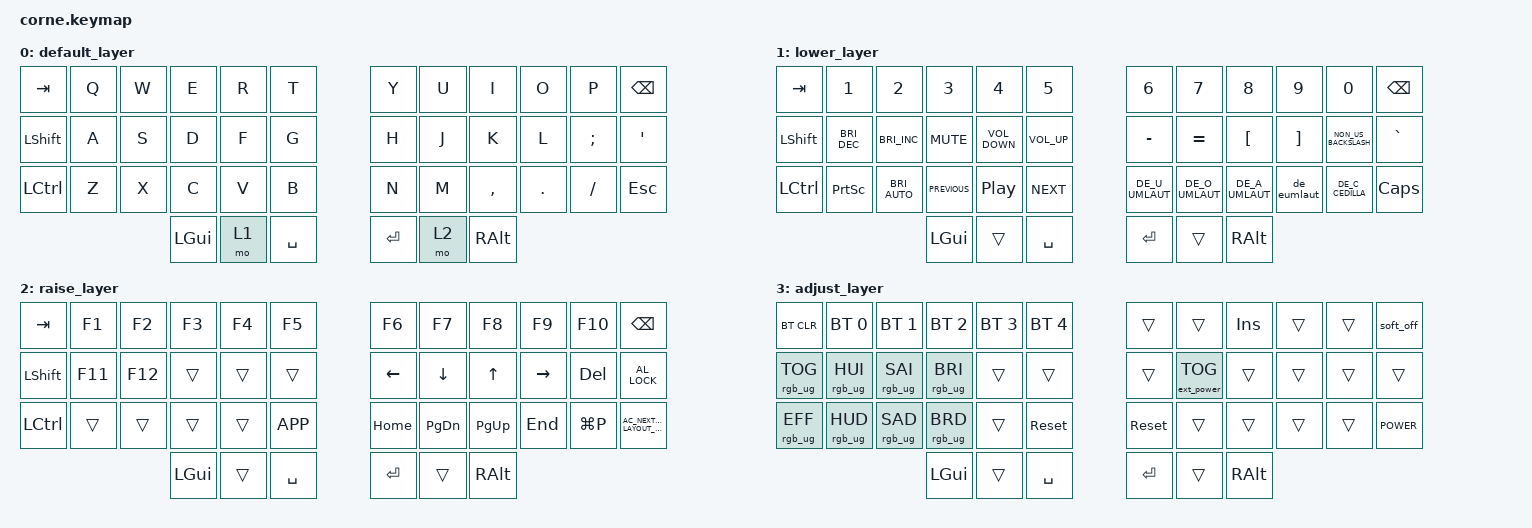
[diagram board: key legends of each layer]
/*
 * Copyright (c) 2020 The ZMK Contributors
 *
 * SPDX-License-Identifier: MIT
 */

#include <behaviors.dtsi>
#include <dt-bindings/zmk/bt.h>
#include <dt-bindings/zmk/keys.h>
#include <dt-bindings/zmk/rgb.h>
#include <dt-bindings/zmk/ext_power.h>
#include <locale/keys_de_swiss.h>

/ {
    conditional_layers {
        compatible = "zmk,conditional-layers";

        tri_layer {
            if-layers = <1 2>;
            then-layer = <3>;
        };
    };

    macros {
        de_eumlaut: de_eumlaut {
            compatible = "zmk,behavior-macro";
            #binding-cells = <0>;
            bindings = <&macro_tap &kp DE_UMLAUT &kp DE_E>;
        };
    };

    keymap {
        compatible = "zmk,keymap";

        default_layer {
            // -----------------------------------------------------------------------------------------
            // |  TAB |  Q  |  W  |  E  |  R  |  T  |   |  Y  |  U   |  I  |  O  |  P  | BSPC |
            // | SHFT |  A  |  S  |  D  |  F  |  G  |   |  H  |  J   |  K  |  L  |  ;  |  '   |
            // | CTRL |  Z  |  X  |  C  |  V  |  B  |   |  N  |  M   |  ,  |  .  |  /  | ESC  |
            //                    | GUI | LWR | SPC |   | ENT | RSE  | ALT |

            bindings = <
&kp TAB     &kp Q  &kp W  &kp E     &kp R  &kp T        &kp Y    &kp U  &kp I      &kp O    &kp P     &kp BSPC
&kp LSHIFT  &kp A  &kp S  &kp D     &kp F  &kp G        &kp H    &kp J  &kp K      &kp L    &kp SEMI  &kp SQT
&kp LCTRL   &kp Z  &kp X  &kp C     &kp V  &kp B        &kp N    &kp M  &kp COMMA  &kp DOT  &kp FSLH  &kp ESC
                          &kp LGUI  &mo 1  &kp SPACE    &kp RET  &mo 2  &kp RALT
            >;
        };

        lower_layer {
            // -----------------------------------------------------------------------------------------
            // |  TAB |  1  |  2  |  3  |  4  |  5  |   |  6  |  7  |  8  |  9  |  0  | BSPC |
            // | SHFT | BRD | BRI | MUT | VDN | VUP |   |  -  |  =  |  [  |  ]  |  \  |  `   |
            // | CTRL | SCRN| BRA |PPREV|PPAUS|PNEXT|   |  UE |  OE |  AE |  Ë  |  ç  | CAPS |
            //                    | GUI |     | SPC |   | ENT |     | ALT |

            bindings = <
&kp TAB           &kp N1                &kp N2                 &kp N3          &kp N4             &kp N5             &kp N6              &kp N7              &kp N8                     &kp N9                                 &kp N0                &kp BSPC
&kp LSHIFT        &kp C_BRIGHTNESS_DEC  &kp C_BRIGHTNESS_INC   &kp C_MUTE      &kp C_VOLUME_DOWN  &kp C_VOLUME_UP    &kp MINUS           &kp EQUAL           &kp LEFT_BRACKET           &kp RIGHT_BRACKET                      &kp NON_US_BACKSLASH  &kp GRAVE
&kp LEFT_CONTROL  &kp PRINTSCREEN       &kp C_BRIGHTNESS_AUTO  &kp C_PREVIOUS  &kp C_PLAY_PAUSE   &kp C_NEXT         &kp DE_U_UMLAUT     &kp DE_O_UMLAUT     &kp DE_A_UMLAUT            &de_eumlaut                            &kp DE_C_CEDILLA      &kp CAPSLOCK
                                                               &kp LGUI        &trans             &kp SPACE          &kp RET             &trans              &kp RALT
            >;
        };

        raise_layer {
            // -----------------------------------------------------------------------------------------
            // |  TAB |  F1 |  F2 |  F3 |  F4 |  F5 |   |  F6 |  F7 |  F8 |  F9 | F10 | BSPC |
            // | SHFT | F11 | F12 |     |     |     |   | LEFT| DOWN|  UP |RIGHT| DEL | LOCK |
            // | CTRL |     |     |     |     | APP |   | HOME| PGDN| PGUP| END | MON |LAYOUT|
            //                    | GUI |     | SPC |   | ENT |     | ALT |

            bindings = <
&kp TAB     &kp F1   &kp F2   &kp F3    &kp F4  &kp F5       &kp F6          &kp F7          &kp F8        &kp F9           &kp F10      &kp BSPC
&kp LSHIFT  &kp F11  &kp F12  &trans    &trans  &trans       &kp LEFT_ARROW  &kp DOWN_ARROW  &kp UP_ARROW  &kp RIGHT_ARROW  &kp DEL      &kp C_AL_LOCK
&kp LCTRL   &trans   &trans   &trans    &trans  &kp K_APP    &kp HOME        &kp PAGE_DOWN   &kp PAGE_UP   &kp END          &kp LG(P)    &kp C_AC_NEXT_KEYBOARD_LAYOUT_SELECT
                              &kp LGUI  &trans  &kp SPACE    &kp RET         &trans          &kp RALT
            >;
        };

        adjust_layer {
            // -----------------------------------------------------------------------------------------
            // | BT_CL| BT1 | BT2 | BT3 | BT4 | BT5 |   |     |     | INS |     |     | koff |
            // | RGTOG| HUE+| SAT+| BRI+|     |     |   |     |EP_TG|     |     |     |      |
            // | RGEFF| HUE-| SAT-| BRI-|     | SRES|   | SRES|     |     |     |     | poff |
            //                    | GUI |     | SPC |   | ENT |     | ALT |

            bindings = <
&bt BT_CLR       &bt BT_SEL 0     &bt BT_SEL 1     &bt BT_SEL 2     &bt BT_SEL 3  &bt BT_SEL 4    &trans      &trans                &kp INS   &trans  &trans  &soft_off
&rgb_ug RGB_TOG  &rgb_ug RGB_HUI  &rgb_ug RGB_SAI  &rgb_ug RGB_BRI  &trans        &trans          &trans      &ext_power EP_TOG     &trans    &trans  &trans  &trans
&rgb_ug RGB_EFF  &rgb_ug RGB_HUD  &rgb_ug RGB_SAD  &rgb_ug RGB_BRD  &trans        &sys_reset      &sys_reset  &trans                &trans    &trans  &trans  &kp C_POWER
                                                   &kp LGUI         &trans        &kp SPACE       &kp RET     &trans                &kp RALT
            >;
        };
    };
};
